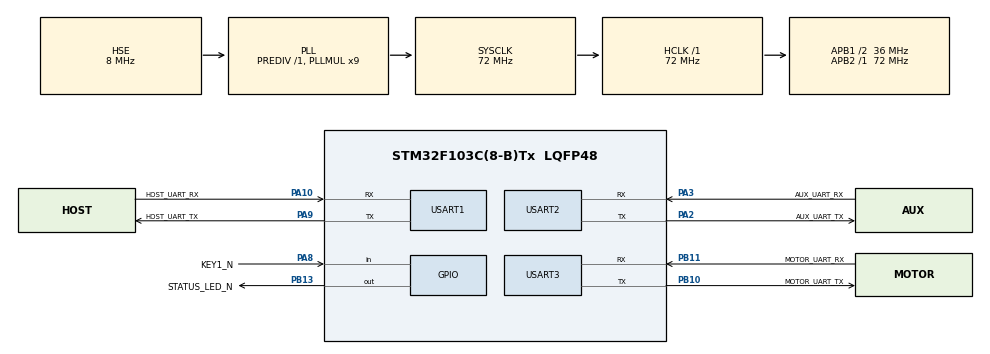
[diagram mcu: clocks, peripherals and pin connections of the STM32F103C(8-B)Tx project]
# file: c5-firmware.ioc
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Mcu.Family=STM32F1
Mcu.Name=STM32F103C(8-B)Tx
Mcu.Package=LQFP48
NVIC.PriorityGroup=NVIC_PRIORITYGROUP_4
NVIC.USART1_IRQn=true\:0\:0\:false\:false\:true\:true\:true\:true
PA10.GPIO_Label=HOST_UART_RX
PA10.Mode=Asynchronous
PA10.Signal=USART1_RX
PA13.GPIO_Label=SWDIO
PA13.Mode=Serial_Wire
PA13.Signal=SYS_JTMS-SWDIO
PA14.GPIO_Label=SWCLK
PA14.Mode=Serial_Wire
PA14.Signal=SYS_JTCK-SWCLK
PA2.GPIO_Label=AUX_UART_TX
PA2.Mode=Asynchronous
PA2.Signal=USART2_TX
PA3.GPIO_Label=AUX_UART_RX
PA3.Mode=Asynchronous
PA3.Signal=USART2_RX
PA8.GPIO_Label=KEY1_N
PA8.GPIO_PuPd=GPIO_PULLUP
PA8.Signal=GPIO_Input
PA9.GPIO_Label=HOST_UART_TX
PA9.Mode=Asynchronous
PA9.Signal=USART1_TX
PB10.GPIO_Label=MOTOR_UART_TX
PB10.Mode=Asynchronous
PB10.Signal=USART3_TX
PB11.GPIO_Label=MOTOR_UART_RX
PB11.Mode=Asynchronous
PB11.Signal=USART3_RX
PB13.GPIO_Label=STATUS_LED_N
PB13.GPIO_ModeDefaultOutputPP=GPIO_MODE_OUTPUT_PP
PB13.GPIO_PuPd=GPIO_NOPULL
PB13.GPIO_Speed=GPIO_SPEED_FREQ_LOW
PB13.PinState=GPIO_PIN_SET
PB13.Signal=GPIO_Output
PD0-OSC_IN.Mode=HSE-External-Oscillator
PD0-OSC_IN.Signal=RCC_OSC_IN
PD1-OSC_OUT.Mode=HSE-External-Oscillator
PD1-OSC_OUT.Signal=RCC_OSC_OUT
ProjectManager.HeapSize=0x200
ProjectManager.StackSize=0x400
ProjectManager.TargetToolchain=MDK-ARM V5
RCC.ADCPresc=RCC_ADCPCLK2_DIV6
RCC.AHBFreq_Value=72000000
RCC.APB1CLKDivider=RCC_HCLK_DIV2
RCC.APB1Freq_Value=36000000
RCC.APB1TimFreq_Value=72000000
RCC.APB2Freq_Value=72000000
RCC.APB2TimFreq_Value=72000000
RCC.HCLKFreq_Value=72000000
RCC.HSE_VALUE=8000000
RCC.HSI_VALUE=8000000
RCC.PLLMUL=RCC_PLL_MUL9
RCC.PLLSourceVirtual=RCC_PLLSOURCE_HSE
RCC.SYSCLKFreq_VALUE=72000000
RCC.SYSCLKSource=RCC_SYSCLKSOURCE_PLLCLK
RCC.USBFreq_Value=72000000
SYS.Debug=Serial_Wire
USART1.VirtualMode=VM_ASYNC
USART2.VirtualMode=VM_ASYNC
USART3.VirtualMode=VM_ASYNC
board=custom

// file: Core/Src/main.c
/* USER CODE BEGIN Header */
/**
  ******************************************************************************
  * @file           : main.c
  * @brief          : Main program body
  ******************************************************************************
  * @attention
  *
  * Copyright (c) 2026 STMicroelectronics.
  * All rights reserved.
  *
  * This software is licensed under terms that can be found in the LICENSE file
  * in the root directory of this software component.
  * If no LICENSE file comes with this software, it is provided AS-IS.
  *
  ******************************************************************************
  */
/* USER CODE END Header */
#include "main.h"

/* USER CODE BEGIN Includes */
#include "c5_control.h"
#include "c5_control_config.h"
#include "c5_host_uart_hal.h"
#include "c5_motion.h"
#include "c5_motion_config.h"
#include "c5_motor_bus_hal.h"
#include "c5_ps2_hal.h"
/* USER CODE END Includes */

UART_HandleTypeDef huart1;
UART_HandleTypeDef huart2;
UART_HandleTypeDef huart3;

/* USER CODE BEGIN PV */
static C5_MotorBusHal motor_bus;
static C5_Motion motion;
static C5_Control control;
static C5_Ps2Hal ps2_hal;
static C5_HostUartHal host_uart;
static uint8_t motion_initialized;
/* USER CODE END PV */

void SystemClock_Config(void);
static void MX_GPIO_Init(void);
static void MX_USART1_UART_Init(void);
static void MX_USART2_UART_Init(void);
static void MX_USART3_UART_Init(void);
/* USER CODE BEGIN PFP */
static int C5_Key1Pressed(void);
static void C5_HostLinkService(uint32_t now_ms);
static void C5_StatusLedService(uint32_t now_ms);

/* USER CODE END PFP */

/* USER CODE BEGIN 0 */
static int C5_Key1Pressed(void)
{
  GPIO_PinState state;

  state = HAL_GPIO_ReadPin(KEY1_N_GPIO_Port, KEY1_N_Pin);
#if C5_KEY1_ACTIVE_LOW
  return (state == GPIO_PIN_RESET) ? 1 : 0;
#else
  return (state == GPIO_PIN_SET) ? 1 : 0;
#endif
}

static void C5_HostLinkService(uint32_t now_ms)
{
  C5_HostRxEvent event;
  C5_HostResult result;
  C5_HostStatus status;
  int available;

  available = C5_HostUartHal_ConsumeFault(&host_uart, &result);
  if (available == 1)
  {
    while (C5_HostUartHal_PopEvent(&host_uart, &event) == 1)
    {
      /* Discard pre-fault commands; recovery requires a fresh ARM. */
    }
    (void)C5_Control_HostFault(&control, now_ms);
    C5_Control_GetHostStatus(&control,
                             0xFFU,
                             result,
                             C5_HostUartHal_GetErrorCount(&host_uart),
                             &status);
    (void)C5_HostUartHal_SendStatus(&host_uart, &status);
    return;
  }

  while (C5_HostUartHal_PopEvent(&host_uart, &event) == 1)
  {
    result = event.result;
    if (result != C5_HOST_RESULT_OK)
    {
      (void)C5_Control_HostFault(&control, now_ms);
    }
    else
    {
      result = C5_Control_ProcessHostCommand(&control,
                                             &event.command,
                                             now_ms);
    }
    C5_Control_GetHostStatus(&control,
                             event.sequence,
                             result,
                             C5_HostUartHal_GetErrorCount(&host_uart),
                             &status);
    if (C5_HostUartHal_SendStatus(&host_uart, &status) != 0)
    {
      (void)C5_Control_HostFault(&control, now_ms);
      return;
    }
  }
}

static void C5_StatusLedService(uint32_t now_ms)
{
  GPIO_PinState output;

  output = GPIO_PIN_SET;
  if (C5_Control_GetState(&control) == C5_CONTROL_PS2)
  {
    if (C5_Control_GetRemoteState(&control) == C5_REMOTE_DISARMED)
    {
      output = ((now_ms / 250U) & 1U) ? GPIO_PIN_SET : GPIO_PIN_RESET;
    }
    else
    {
      output = GPIO_PIN_RESET;
    }
  }
  HAL_GPIO_WritePin(STATUS_LED_N_GPIO_Port, STATUS_LED_N_Pin, output);
}

/* USER CODE END 0 */

int main(void)
{

  /* MCU Configuration--------------------------------------------------------*/

  /* Reset of all peripherals, Initializes the Flash interface and the Systick. */
  HAL_Init();

  /* Initialize all configured peripherals */
  MX_GPIO_Init();
  MX_USART1_UART_Init();
  MX_USART2_UART_Init();
  MX_USART3_UART_Init();
  /* USER CODE BEGIN 2 */
  C5_MotorBusHal_Init(&motor_bus, &huart3, C5_MOTOR_UART_TIMEOUT_MS);
  motion_initialized = 1U;
  if (C5_Motion_Init(&motion,
                     C5_MotorBusHal_Write,
                     &motor_bus,
                     &C5_MOTOR_LAYOUT_DEFAULT,
                     HAL_GetTick()) != 0)
  {
    Error_Handler();
  }
  C5_Ps2Hal_Init(&ps2_hal);
  C5_Control_Init(&control,
                  &motion,
                  C5_Ps2Hal_ReadFrame,
                  &ps2_hal,
                  C5_Ps2Hal_Enter,
                  &ps2_hal,
                  C5_Ps2Hal_Exit,
                  &ps2_hal,
                  C5_Key1Pressed(),
                  HAL_GetTick());
  C5_HostUartHal_Init(&host_uart, &huart1);
  if (C5_HostUartHal_Start(&host_uart) != 0)
  {
    Error_Handler();
  }
  /* USER CODE END 2 */

  /* Infinite loop */
  while (1)
  {

    /* USER CODE BEGIN 3 */
    uint32_t now_ms;

    now_ms = HAL_GetTick();
    C5_Control_Service(&control, C5_Key1Pressed(), now_ms);
    C5_HostLinkService(now_ms);
    C5_Motion_Service(&motion, now_ms);
    C5_StatusLedService(now_ms);
  }
  /* USER CODE END 3 */
}

void SystemClock_Config(void)
{
  RCC_OscInitTypeDef RCC_OscInitStruct = {0};
  RCC_ClkInitTypeDef RCC_ClkInitStruct = {0};

  /** Initializes the RCC Oscillators according to the specified parameters
  * in the RCC_OscInitTypeDef structure.
  */
  RCC_OscInitStruct.OscillatorType = RCC_OSCILLATORTYPE_HSE;
  RCC_OscInitStruct.HSEState = RCC_HSE_ON;
  RCC_OscInitStruct.HSEPredivValue = RCC_HSE_PREDIV_DIV1;
  RCC_OscInitStruct.HSIState = RCC_HSI_ON;
  RCC_OscInitStruct.PLL.PLLState = RCC_PLL_ON;
  RCC_OscInitStruct.PLL.PLLSource = RCC_PLLSOURCE_HSE;
  RCC_OscInitStruct.PLL.PLLMUL = RCC_PLL_MUL9;
  if (HAL_RCC_OscConfig(&RCC_OscInitStruct) != HAL_OK)
  {
    Error_Handler();
  }

  /** Initializes the CPU, AHB and APB buses clocks
  */
  RCC_ClkInitStruct.ClockType = RCC_CLOCKTYPE_HCLK|RCC_CLOCKTYPE_SYSCLK
                              |RCC_CLOCKTYPE_PCLK1|RCC_CLOCKTYPE_PCLK2;
  RCC_ClkInitStruct.SYSCLKSource = RCC_SYSCLKSOURCE_PLLCLK;
  RCC_ClkInitStruct.AHBCLKDivider = RCC_SYSCLK_DIV1;
  RCC_ClkInitStruct.APB1CLKDivider = RCC_HCLK_DIV2;
  RCC_ClkInitStruct.APB2CLKDivider = RCC_HCLK_DIV1;

  if (HAL_RCC_ClockConfig(&RCC_ClkInitStruct, FLASH_LATENCY_2) != HAL_OK)
  {
    Error_Handler();
  }
}

static void MX_USART1_UART_Init(void)
{

  huart1.Instance = USART1;
  huart1.Init.BaudRate = 115200;
  huart1.Init.WordLength = UART_WORDLENGTH_8B;
  huart1.Init.StopBits = UART_STOPBITS_1;
  huart1.Init.Parity = UART_PARITY_NONE;
  huart1.Init.Mode = UART_MODE_TX_RX;
  huart1.Init.HwFlowCtl = UART_HWCONTROL_NONE;
  huart1.Init.OverSampling = UART_OVERSAMPLING_16;
  if (HAL_UART_Init(&huart1) != HAL_OK)
  {
    Error_Handler();
  }

}

static void MX_USART2_UART_Init(void)
{

  huart2.Instance = USART2;
  huart2.Init.BaudRate = 115200;
  huart2.Init.WordLength = UART_WORDLENGTH_8B;
  huart2.Init.StopBits = UART_STOPBITS_1;
  huart2.Init.Parity = UART_PARITY_NONE;
  huart2.Init.Mode = UART_MODE_TX_RX;
  huart2.Init.HwFlowCtl = UART_HWCONTROL_NONE;
  huart2.Init.OverSampling = UART_OVERSAMPLING_16;
  if (HAL_UART_Init(&huart2) != HAL_OK)
  {
    Error_Handler();
  }

}

static void MX_USART3_UART_Init(void)
{

  huart3.Instance = USART3;
  huart3.Init.BaudRate = 115200;
  huart3.Init.WordLength = UART_WORDLENGTH_8B;
  huart3.Init.StopBits = UART_STOPBITS_1;
  huart3.Init.Parity = UART_PARITY_NONE;
  huart3.Init.Mode = UART_MODE_TX_RX;
  huart3.Init.HwFlowCtl = UART_HWCONTROL_NONE;
  huart3.Init.OverSampling = UART_OVERSAMPLING_16;
  if (HAL_UART_Init(&huart3) != HAL_OK)
  {
    Error_Handler();
  }

}

static void MX_GPIO_Init(void)
{
  GPIO_InitTypeDef GPIO_InitStruct = {0};

  /* GPIO Ports Clock Enable */
  __HAL_RCC_GPIOD_CLK_ENABLE();
  __HAL_RCC_GPIOA_CLK_ENABLE();
  __HAL_RCC_GPIOB_CLK_ENABLE();

  /*Configure GPIO pin Output Level */
  HAL_GPIO_WritePin(STATUS_LED_N_GPIO_Port, STATUS_LED_N_Pin, GPIO_PIN_SET);

  /*Configure GPIO pin : STATUS_LED_N_Pin */
  GPIO_InitStruct.Pin = STATUS_LED_N_Pin;
  GPIO_InitStruct.Mode = GPIO_MODE_OUTPUT_PP;
  GPIO_InitStruct.Pull = GPIO_NOPULL;
  GPIO_InitStruct.Speed = GPIO_SPEED_FREQ_LOW;
  HAL_GPIO_Init(STATUS_LED_N_GPIO_Port, &GPIO_InitStruct);

  /*Configure GPIO pin : KEY1_N_Pin */
  GPIO_InitStruct.Pin = KEY1_N_Pin;
  GPIO_InitStruct.Mode = GPIO_MODE_INPUT;
  GPIO_InitStruct.Pull = GPIO_PULLUP;
  HAL_GPIO_Init(KEY1_N_GPIO_Port, &GPIO_InitStruct);

}

/* USER CODE BEGIN 4 */
void HAL_UART_RxCpltCallback(UART_HandleTypeDef *huart)
{
  if ((huart != NULL) && (huart == host_uart.uart))
  {
    C5_HostUartHal_RxCompleteIsr(&host_uart);
  }
}

void HAL_UART_ErrorCallback(UART_HandleTypeDef *huart)
{
  if ((huart != NULL) && (huart == host_uart.uart))
  {
    C5_HostUartHal_ErrorIsr(&host_uart);
  }
}

/* USER CODE END 4 */

void Error_Handler(void)
{
  /* USER CODE BEGIN Error_Handler_Debug */
  if (motion_initialized != 0U)
  {
    (void)C5_Motion_Stop(&motion, HAL_GetTick());
    (void)C5_Ps2Hal_Exit(&ps2_hal);
  }
  __disable_irq();
  while (1)
  {
  }
  /* USER CODE END Error_Handler_Debug */
}
